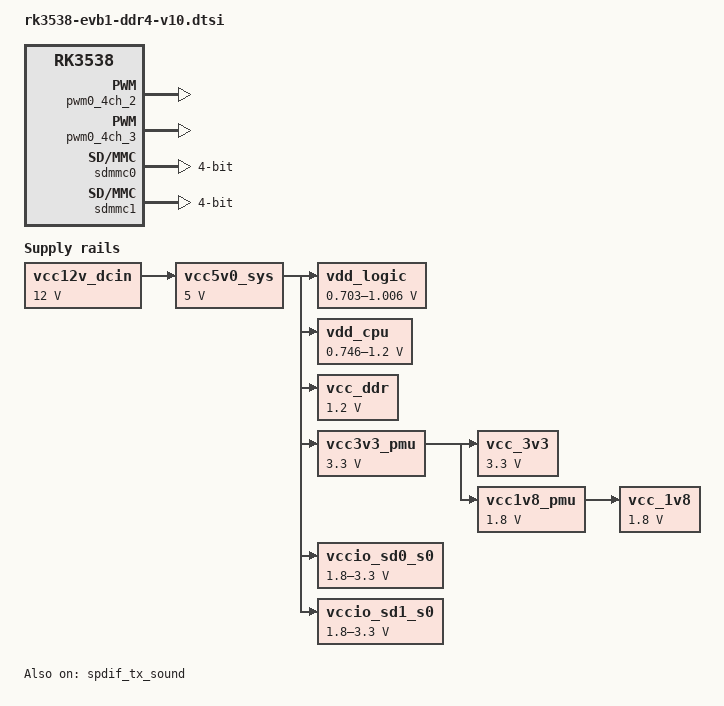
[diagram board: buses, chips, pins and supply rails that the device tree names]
// SPDX-License-Identifier: (GPL-2.0+ OR MIT)
/*
 * Copyright (c) 2025 Rockchip Electronics Co., Ltd.
 *
 */

/dts-v1/;

#include "rk3538.dtsi"
#include "rk3538-evb.dtsi"

/{
	vcc12v_dcin: vcc12v-dcin {
		compatible = "regulator-fixed";
		regulator-name = "vcc12v_dcin";
		regulator-always-on;
		regulator-boot-on;
		regulator-min-microvolt = <12000000>;
		regulator-max-microvolt = <12000000>;
	};

	vcc5v0_sys: vcc5v0-sys {
		compatible = "regulator-fixed";
		regulator-name = "vcc5v0_sys";
		regulator-always-on;
		regulator-boot-on;
		regulator-min-microvolt = <5000000>;
		regulator-max-microvolt = <5000000>;
		vin-supply = <&vcc12v_dcin>;
	};

	vdd_logic: vdd-logc {
		compatible = "pwm-regulator";
		pwms = <&pwm0_4ch_2 0 25000 1>;
		regulator-name = "vdd_logic";
		regulator-init-microvolt = <901000>;
		regulator-min-microvolt = <703000>;
		regulator-max-microvolt = <1006000>;
		regulator-settling-time-up-us = <250>;
		regulator-always-on;
		regulator-boot-on;
		pwm-supply = <&vcc5v0_sys>;
	};

	vdd_cpu: vdd-cpu {
		compatible = "pwm-regulator";
		pwms = <&pwm0_4ch_3 0 25000 1>;
		regulator-name = "vdd_cpu";
		regulator-init-microvolt = <953000>;
		regulator-min-microvolt = <746000>;
		regulator-max-microvolt = <1200000>;
		regulator-settling-time-up-us = <250>;
		regulator-always-on;
		regulator-boot-on;
		pwm-supply = <&vcc5v0_sys>;
	};

	vcc_ddr: vcc-ddr {
		compatible = "regulator-fixed";
		regulator-name = "vcc_ddr";
		regulator-min-microvolt = <1200000>;
		regulator-max-microvolt = <1200000>;
		enable-active-low;
		regulator-boot-on;
		vin-supply = <&vcc5v0_sys>;
	};

	vcc3v3_pmu: vcc3v3-pmu {
		compatible = "regulator-fixed";
		regulator-name = "vcc3v3_pmu";
		regulator-min-microvolt = <3300000>;
		regulator-max-microvolt = <3300000>;
		enable-active-low;
		regulator-boot-on;
		vin-supply = <&vcc5v0_sys>;
	};

	vcc_3v3: vcc_3v3 {
		compatible = "regulator-fixed";
		regulator-name = "vcc_3v3";
		regulator-min-microvolt = <3300000>;
		regulator-max-microvolt = <3300000>;
		enable-active-low;
		regulator-boot-on;
		vin-supply = <&vcc3v3_pmu>;
	};

	vcc1v8_pmu: vcc1v8-pmu {
		compatible = "regulator-fixed";
		regulator-name = "vcc1v8_pmu";
		regulator-min-microvolt = <1800000>;
		regulator-max-microvolt = <1800000>;
		enable-active-low;
		regulator-boot-on;
		vin-supply = <&vcc3v3_pmu>;
	};

	vcc_1v8: vcc-1v8 {
		compatible = "regulator-fixed";
		regulator-name = "vcc_1v8";
		regulator-min-microvolt = <1800000>;
		regulator-max-microvolt = <1800000>;
		enable-active-low;
		regulator-boot-on;
		vin-supply = <&vcc1v8_pmu>;
	};

	vccio_sd0_s0: vccio-sd0-s0 {
		compatible = "regulator-gpio";
		regulator-name = "vccio_sd0_s0";
		regulator-min-microvolt = <1800000>;
		regulator-max-microvolt = <3300000>;
		gpios = <&gpio6 RK_PA7 GPIO_ACTIVE_HIGH>;
		vin-supply = <&vcc5v0_sys>;
		states = <1800000 0x0
			  3300000 0x1>;
	};

	vccio_sd1_s0: vccio-sd1-s0 {
		compatible = "regulator-gpio";
		regulator-name = "vccio_sd1_s0";
		regulator-min-microvolt = <1800000>;
		regulator-max-microvolt = <3300000>;
		gpios = <&gpio6 RK_PB0 GPIO_ACTIVE_HIGH>;
		vin-supply = <&vcc5v0_sys>;
		states = <1800000 0x0
			  3300000 0x1>;
	};
};

&cpu0 {
	cpu-supply = <&vdd_cpu>;
};

&cpu2 {
	cpu-supply = <&vdd_cpu>;
};

&gpu {
	mali-supply = <&vdd_logic>;
};

&pwm0_4ch_2 {
	status = "okay";
};

&pwm0_4ch_3 {
	pinctrl-0 = <&pwm0m1_ch3_pins>;
	status = "okay";
};

&sdmmc0 {
	bus-width = <4>;
	cap-mmc-highspeed;
	cap-sd-highspeed;
	disable-wp;
	no-sdio;
	no-mmc;
	max-frequency = <200000000>;
	pinctrl-names = "default";
	pinctrl-0 = <&sdmmc0_clk_pins &sdmmc0_cmd_pins &sdmmc0_detn_pins &sdmmc0_bus4_pins &sdmmc0_pwren_pins>;
	sd-uhs-sdr12;
	sd-uhs-sdr25;
	sd-uhs-sdr50;
	sd-uhs-sdr104;
	vqmmc-supply = <&vccio_sd0_s0>;
	status = "okay";
};

&sdmmc1 {
	bus-width = <4>;
	cap-mmc-highspeed;
	cap-sd-highspeed;
	disable-wp;
	no-sdio;
	no-mmc;
	max-frequency = <200000000>;
	pinctrl-names = "default";
	pinctrl-0 = <&sdmmc1_clk_pins &sdmmc1_cmd_pins &sdmmc1_detn_pins &sdmmc1_bus4_pins &sdmmc1_pwren_pins>;
	sd-uhs-sdr12;
	sd-uhs-sdr25;
	sd-uhs-sdr50;
	sd-uhs-sdr104;
	vqmmc-supply = <&vccio_sd1_s0>;
	status = "okay";
};

&spdif_tx_sound {
	status = "okay";
};
